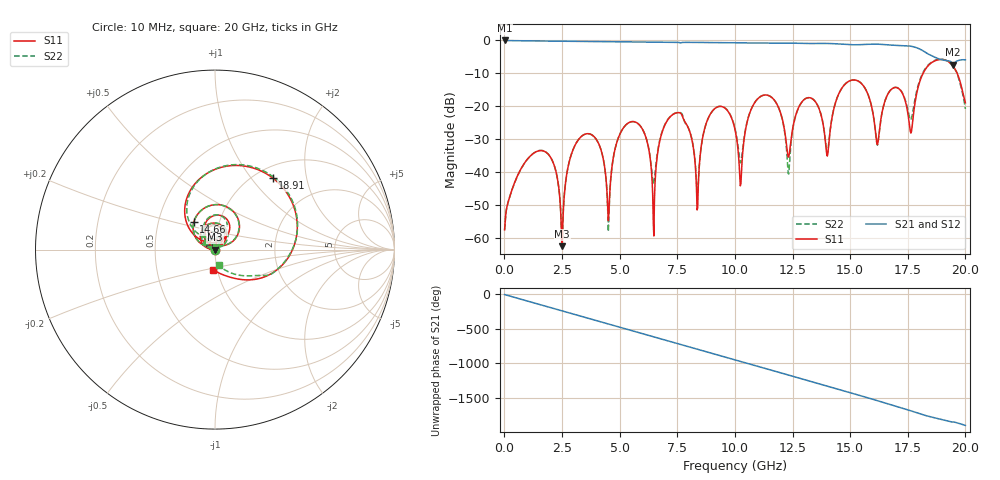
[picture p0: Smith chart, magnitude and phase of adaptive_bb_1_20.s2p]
! HFSS adaptive-range study - 40 x 12 mm 5-layer stripline coupon
! with a signal via transition at mid-board
! Case: Broadband adaptive 1-20 GHz (covers the whole sweep)
! Sweep: interpolating 10 MHz - 20 GHz, 25 MHz step, 4 cores
# GHz S MA R 50.000000
! Terminal data exported
! Port[1] = U1.PAD1.SIG
! Port[2] = U2.PAD1.SIG
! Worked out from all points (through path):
!   801 points, 10 MHz to 20 GHz, reference 50 ohm
!   highest |S21| = -0.01 dB at 10 MHz (marker M1); lowest = -7.3 dB at 19.46 GHz (marker M2)
!   group delay of S21, straight-line fit = 265 ps
!   lowest |S11| = -62.5 dB at 2.51 GHz (marker M3), VSWR 1.00, Z = 50 - j0.0746 ohm
!   |S11| at or under -10 dB: start of sweep to 18.16 GHz; 19.64 GHz to end of sweep
!   |S22| runs from -61.3 to -5.7 dB; largest |S21 - S12| = 2.1e-12
!   S11 on the Smith chart (normalised r, x): 10 MHz: 1.00, +0.00; 14.66 GHz: 0.76, +0.24; 18.91 GHz: 1.19, +1.29; 20 GHz: 0.96, -0.22
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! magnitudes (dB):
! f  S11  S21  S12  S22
! 10 MHz  -57.6  0.0  0.0  -57.6
! 1.535 GHz  -33.5  -0.2  -0.2  -33.4
! 2.51 GHz  -62.5  -0.2  -0.2  -61.3
! 3.36 GHz  -29.1  -0.3  -0.3  -29.1
! 4.51 GHz  -54.8  -0.4  -0.4  -58.1
! 5.26 GHz  -25.8  -0.4  -0.4  -25.8
! 6.46 GHz  -55.2  -0.5  -0.5  -43.6
! 6.685 GHz  -32.6  -0.5  -0.5  -32.1
! 8.36 GHz  -51.5  -0.6  -0.6  -46.4
! 10.01 GHz  -27.3  -0.7  -0.7  -26.9
! 10.26 GHz  -43.6  -0.7  -0.7  -37.1
! 11.51 GHz  -16.9  -0.9  -0.9  -16.9
! 12.34 GHz  -35.4  -0.8  -0.8  -40.6
! 13.36 GHz  -17.7  -0.9  -0.9  -17.7
! 14.01 GHz  -35.1  -0.9  -0.9  -34.4
! 14.66 GHz  -14.3  -1.2  -1.2  -14.3
! 16.18 GHz  -31.7  -1.1  -1.1  -31.8
! 16.68 GHz  -15.7  -1.4  -1.4  -15.7
! 17.64 GHz  -28.2  -1.8  -1.8  -24.1
! 18.91 GHz  -5.8  -5.7  -5.7  -5.7
! 19.46 GHz  -7.7  -7.3  -7.3  -7.9
! 20 GHz  -19.0  -5.9  -5.9  -20.8
